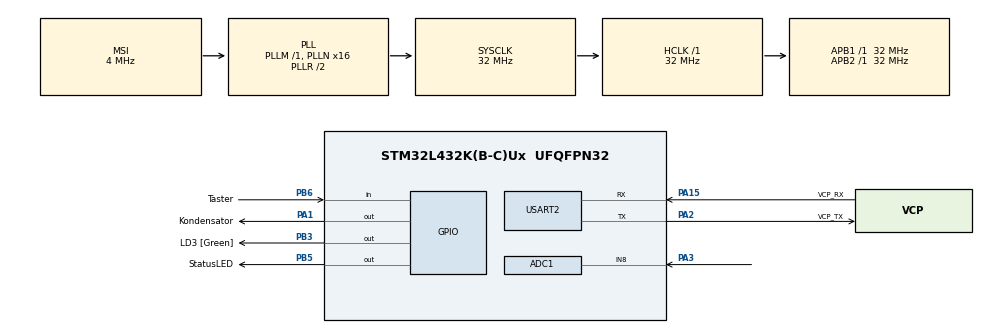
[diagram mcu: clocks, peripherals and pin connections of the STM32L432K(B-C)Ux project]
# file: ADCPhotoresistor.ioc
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ADC1.Channel-0\#ChannelRegularConversion=ADC_CHANNEL_8
ADC1.NbrOfConversionFlag=1
ADC1.OffsetNumber-0\#ChannelRegularConversion=ADC_OFFSET_NONE
ADC1.Rank-0\#ChannelRegularConversion=1
ADC1.SamplingTime-0\#ChannelRegularConversion=ADC_SAMPLETIME_2CYCLES_5
ADC1.master=1
Mcu.Family=STM32L4
Mcu.Name=STM32L432K(B-C)Ux
Mcu.Package=UFQFPN32
NVIC.PriorityGroup=NVIC_PRIORITYGROUP_4
PA0.GPIO_Label=MCO [High speed clock in]
PA0.Mode=HSE-External-Clock-Source-for-LittleOrca
PA0.Signal=RCC_CK_IN
PA1.GPIO_Label=Kondensator
PA1.Signal=GPIO_Output
PA13\ (JTMS-SWDIO).GPIO_Label=SWDIO
PA13\ (JTMS-SWDIO).Mode=Serial_Wire
PA13\ (JTMS-SWDIO).Signal=SYS_JTMS-SWDIO
PA14\ (JTCK-SWCLK).GPIO_Label=SWCLK
PA14\ (JTCK-SWCLK).Mode=Serial_Wire
PA14\ (JTCK-SWCLK).Signal=SYS_JTCK-SWCLK
PA15\ (JTDI).GPIO_Label=VCP_RX
PA15\ (JTDI).Mode=Asynchronous
PA15\ (JTDI).Signal=USART2_RX
PA2.GPIO_Label=VCP_TX
PA2.Mode=Asynchronous
PA2.Signal=USART2_TX
PA3.Signal=ADCx_IN8
PB3\ (JTDO-TRACESWO).GPIO_Label=LD3 [Green]
PB3\ (JTDO-TRACESWO).Signal=GPIO_Output
PB5.GPIO_Label=StatusLED
PB5.Signal=GPIO_Output
PB6.GPIO_Label=Taster
PB6.GPIO_PuPd=GPIO_PULLUP
PB6.Signal=GPIO_Input
PC14-OSC32_IN\ (PC14).Mode=LSE-External-Oscillator
PC14-OSC32_IN\ (PC14).Signal=RCC_OSC32_IN
PC15-OSC32_OUT\ (PC15).Mode=LSE-External-Oscillator
PC15-OSC32_OUT\ (PC15).Signal=RCC_OSC32_OUT
ProjectManager.HeapSize=0x200
ProjectManager.StackSize=0x400
ProjectManager.TargetToolchain=Makefile
RCC.ADCFreq_Value=32000000
RCC.AHBFreq_Value=32000000
RCC.APB1Freq_Value=32000000
RCC.APB1TimFreq_Value=32000000
RCC.APB2Freq_Value=32000000
RCC.APB2TimFreq_Value=32000000
RCC.CortexFreq_Value=32000000
RCC.HCLKFreq_Value=32000000
RCC.HSE_VALUE=8000000
RCC.HSI16_VALUE=16000000
RCC.HSI48_VALUE=48000000
RCC.HSI_VALUE=16000000
RCC.MSI_VALUE=4000000
RCC.PLLMUL=RCC_PLLMUL_4
RCC.PLLN=16
RCC.PLLSAI1N=16
RCC.SYSCLKFreq_VALUE=32000000
RCC.SYSCLKSource=RCC_SYSCLKSOURCE_PLLCLK
RCC.USBFreq_Value=32000000
RCC.VCOOutputFreq_Value=64000000
SH.ADCx_IN8.0=ADC1_IN8,IN8-Single-Ended
USART2.VirtualMode-Asynchronous=VM_ASYNC
board=NUCLEO-L432KC

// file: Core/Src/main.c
/* USER CODE BEGIN Header */
/**
  ******************************************************************************
  * @file           : main.c
  * @brief          : Main program body
  ******************************************************************************
  * @attention
  *
  * Copyright (c) 2022 STMicroelectronics.
  * All rights reserved.
  *
  * This software is licensed under terms that can be found in the LICENSE file
  * in the root directory of this software component.
  * If no LICENSE file comes with this software, it is provided AS-IS.
  *
  ******************************************************************************
  */
/* USER CODE END Header */
#include "main.h"
#include "adc.h"
#include "usart.h"
#include "gpio.h"

/* USER CODE BEGIN Includes */
#include <string.h>
#include <stdio.h>
#include <stdint.h>
/* USER CODE END Includes */

void SystemClock_Config(void);

int main(void)
{
  /* USER CODE BEGIN 1 */
  uint16_t old_button_state = 0;
  uint16_t raw;
  char msg[32];
  uint16_t time;
  //char test1[]={"I am here Status=1 "};
  //char test0[]={"I am here Status=0 "};
  //char testTaster[]={"Taster reached"};
  //int Status = 0;

  /* USER CODE END 1 */

  /* MCU Configuration--------------------------------------------------------*/

  /* Reset of all peripherals, Initializes the Flash interface and the Systick. */
  HAL_Init();

  /* Configure the system clock */
  SystemClock_Config();

  /* Initialize all configured peripherals */
  MX_GPIO_Init();
  MX_ADC1_Init();
  MX_USART2_UART_Init();
  /* USER CODE BEGIN 2 */

  void Transmit() {
    time = HAL_GetTick();
    sprintf(msg, "%hu %hu\r\n",time,raw);
    HAL_UART_Transmit(&huart2,(uint8_t*)msg ,strlen(msg),HAL_MAX_DELAY);
    HAL_Delay(1);
  }

  uint16_t singleShotADC(){
    HAL_ADC_Start(&hadc1);
    HAL_ADC_PollForConversion(&hadc1, HAL_MAX_DELAY);
    return HAL_ADC_GetValue(&hadc1);;
  }
  /* USER CODE END 2 */

  /* Infinite loop */
  while (1)
  {

    /* USER CODE BEGIN 3 */

    //Waiting for Button Press and only recognising falling flanks
    if(!HAL_GPIO_ReadPin(Taster_GPIO_Port,Taster_Pin) && old_button_state){
      HAL_GPIO_TogglePin(Kondensator_GPIO_Port,Kondensator_Pin);
    }
    old_button_state = HAL_GPIO_ReadPin(Taster_GPIO_Port,Taster_Pin);

    //Transmit the Data
    raw = singleShotADC();
    Transmit();

    //if the Capacitor is full the LED is set to shine else RESET to be dimmed.
    //ADC can output values up to 4095, but from experimentation this value can be off. 4000 is close enough though.
    if (raw >=4000){
      HAL_GPIO_WritePin(StatusLED_GPIO_Port,StatusLED_Pin,SET);
    }else{
      HAL_GPIO_WritePin(StatusLED_GPIO_Port,StatusLED_Pin,RESET);
    }
  }

  /* USER CODE END 3 */
}

void SystemClock_Config(void)
{
  RCC_OscInitTypeDef RCC_OscInitStruct = {0};
  RCC_ClkInitTypeDef RCC_ClkInitStruct = {0};

  /** Configure the main internal regulator output voltage
  */
  if (HAL_PWREx_ControlVoltageScaling(PWR_REGULATOR_VOLTAGE_SCALE1) != HAL_OK)
  {
    Error_Handler();
  }

  /** Configure LSE Drive Capability
  */
  HAL_PWR_EnableBkUpAccess();
  __HAL_RCC_LSEDRIVE_CONFIG(RCC_LSEDRIVE_LOW);

  /** Initializes the RCC Oscillators according to the specified parameters
  * in the RCC_OscInitTypeDef structure.
  */
  RCC_OscInitStruct.OscillatorType = RCC_OSCILLATORTYPE_LSE|RCC_OSCILLATORTYPE_MSI;
  RCC_OscInitStruct.LSEState = RCC_LSE_ON;
  RCC_OscInitStruct.MSIState = RCC_MSI_ON;
  RCC_OscInitStruct.MSICalibrationValue = 0;
  RCC_OscInitStruct.MSIClockRange = RCC_MSIRANGE_6;
  RCC_OscInitStruct.PLL.PLLState = RCC_PLL_ON;
  RCC_OscInitStruct.PLL.PLLSource = RCC_PLLSOURCE_MSI;
  RCC_OscInitStruct.PLL.PLLM = 1;
  RCC_OscInitStruct.PLL.PLLN = 16;
  RCC_OscInitStruct.PLL.PLLP = RCC_PLLP_DIV7;
  RCC_OscInitStruct.PLL.PLLQ = RCC_PLLQ_DIV2;
  RCC_OscInitStruct.PLL.PLLR = RCC_PLLR_DIV2;
  if (HAL_RCC_OscConfig(&RCC_OscInitStruct) != HAL_OK)
  {
    Error_Handler();
  }

  /** Initializes the CPU, AHB and APB buses clocks
  */
  RCC_ClkInitStruct.ClockType = RCC_CLOCKTYPE_HCLK|RCC_CLOCKTYPE_SYSCLK
                              |RCC_CLOCKTYPE_PCLK1|RCC_CLOCKTYPE_PCLK2;
  RCC_ClkInitStruct.SYSCLKSource = RCC_SYSCLKSOURCE_PLLCLK;
  RCC_ClkInitStruct.AHBCLKDivider = RCC_SYSCLK_DIV1;
  RCC_ClkInitStruct.APB1CLKDivider = RCC_HCLK_DIV1;
  RCC_ClkInitStruct.APB2CLKDivider = RCC_HCLK_DIV1;

  if (HAL_RCC_ClockConfig(&RCC_ClkInitStruct, FLASH_LATENCY_1) != HAL_OK)
  {
    Error_Handler();
  }

  /** Enable MSI Auto calibration
  */
  HAL_RCCEx_EnableMSIPLLMode();
}

void Error_Handler(void)
{
  __disable_irq();
  while (1)
  {
  }
}
